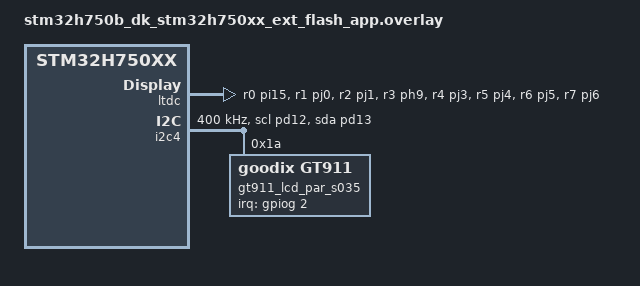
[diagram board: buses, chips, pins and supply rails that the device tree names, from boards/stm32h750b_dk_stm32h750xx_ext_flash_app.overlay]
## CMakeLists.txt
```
cmake_minimum_required(VERSION 3.13.1)

find_package(Zephyr REQUIRED HINTS $ENV{ZEPHYR_BASE})
project(app LANGUAGES CXX)

if(NOT BOARD)
    message(FATAL_ERROR "No BOARD option specified")
endif()

# check is rust is available
find_program(RUSTC_EXECUTABLE rustc)
if(NOT RUSTC_EXECUTABLE)
    message(FATAL_ERROR "Rust compiler not found. Please install Rust and make sure it's in your PATH.")
endif()

# check board and set relevant variables
if(BOARD STREQUAL "native_sim")
    set(Rust_CARGO_TARGET "x86_64-unknown-linux-gnu")
    set(SLINT_LIBRARY_CARGO_FLAGS "-Zbuild-std=core,alloc")
    set(BOARD_CONF_NAME "native_sim_64")
elseif(BOARD STREQUAL "mimxrt1170_evk@B/mimxrt1176/cm7")
    set(Rust_CARGO_TARGET "thumbv7em-none-eabihf")
    set(BOARD_CONF_NAME "mimxrt1170_evk_mimxrt1176_cm7")
elseif(BOARD MATCHES "stm32h750b_dk*")
    set(Rust_CARGO_TARGET "thumbv7em-none-eabihf")
    set(BOARD_CONF_NAME "stm32h750b_dk")
elseif(BOARD MATCHES "black_f407ve")
    set(Rust_CARGO_TARGET "thumbv7em-none-eabihf")
    set(SLINT_LIBRARY_CARGO_FLAGS "")
    set(BOARD_CONF_NAME "black_f407ve")
else()
    message(FATAL_ERROR "Unsupported BOARD option specified: ${BOARD}")
endif()

set(SLINT_FEATURE_FREESTANDING ON CACHE BOOL "" FORCE)
set(SLINT_FEATURE_RENDERER_SOFTWARE ON CACHE BOOL "" FORCE)
set(BUILD_SHARED_LIBS OFF)  
set(DEFAULT_SLINT_EMBED_RESOURCES "embed-for-software-renderer-with-sdf" CACHE STRING "")

set(Rust_CARGO_TARGET_LINK_NATIVE_LIBS "" CACHE INTERNAL "" FORCE)
set(SLINT_FEATURE_SDF_FONTS ON CACHE BOOL "" FORCE)

add_subdirectory(${CMAKE_CURRENT_SOURCE_DIR}/../../modules/slint-ui/ slint_build)

target_sources(app
    PRIVATE
    src/zephyr_api.cpp
    src/main.cpp
    src/display_backend.cpp
    src/input_bridge.cpp
    src/platform_main_loop.cpp
    src/slint_renderer_host.cpp
    src/slint_shell.cpp
)

target_include_directories(app PRIVATE ${CMAKE_CURRENT_SOURCE_DIR}/../include)
target_link_libraries(app PRIVATE Slint::Slint)

slint_target_sources(app ui/ui.slint)
```

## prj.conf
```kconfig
CONFIG_CPP=y
CONFIG_STD_CPP20=y
CONFIG_REQUIRES_FULL_LIBCPP=y
# CONFIG_POSIX_API=y

CONFIG_FLASH_BASE_ADDRESS=0x90000000
CONFIG_ROM_START_OFFSET=0x400
CONFIG_FLASH_LOAD_OFFSET=0x400

CONFIG_SHELL=y
CONFIG_I2C=y
CONFIG_I2C_SHELL=y

CONFIG_FPU=y
CONFIG_FP_HARDABI=y

CONFIG_LOG=y
CONFIG_ASSERT=y

CONFIG_DISPLAY=y
CONFIG_INPUT=y

CONFIG_MAIN_STACK_SIZE=32000

CONFIG_FLASH=y
CONFIG_SPI=y
CONFIG_XIP=y

# Configure SDL display to use RGB565 for better performance and compatibility
CONFIG_SDL_DISPLAY_DEFAULT_PIXEL_FORMAT_RGB_565=y
```

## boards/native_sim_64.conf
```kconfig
CONFIG_INPUT_SDL_TOUCH=y
```

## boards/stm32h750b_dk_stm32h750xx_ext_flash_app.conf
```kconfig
# Configuration for STM32H750B Discovery Kit
# Display and graphics configuration
CONFIG_DISPLAY=y

# Input configuration  
CONFIG_INPUT=y

CONFIG_INPUT_GT911=y
# Optional: Touch input if display supports it
# CONFIG_INPUT_TOUCH=y
```

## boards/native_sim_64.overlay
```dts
&sdl_dc {
    width = <800>;
	height = <400>;
};
```

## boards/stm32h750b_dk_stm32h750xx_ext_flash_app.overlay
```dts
/ {
	chosen {
		// zephyr,flash = &ext_flash;
		// zephyr,flash-controller = &ext_flash_ctrl;
		// zephyr,code-partition = &slot0_partition;
		zephyr,touch = &gt911_lcd_par_s035;
	};
};

&ltdc {
	pinctrl-0 = <&ltdc_r0_pi15 &ltdc_r1_pj0 &ltdc_r2_pj1 &ltdc_r3_ph9
		     &ltdc_r4_pj3 &ltdc_r5_pj4 &ltdc_r6_pj5 &ltdc_r7_pj6
		     &ltdc_g0_pj7 &ltdc_g1_pj8 &ltdc_g2_pj9 &ltdc_g3_pj10
		     &ltdc_g4_pj11 &ltdc_g5_pi0 &ltdc_g6_pi1 &ltdc_g7_pk2
		     &ltdc_b0_pj12 &ltdc_b1_pj13 &ltdc_b2_pj14 &ltdc_b3_pj15
		     &ltdc_b4_pk3 &ltdc_b5_pk4 &ltdc_b6_pk5 &ltdc_b7_pk6
		     &ltdc_de_pk7 &ltdc_clk_pi14 &ltdc_hsync_pi12 &ltdc_vsync_pi9>;
	pinctrl-names = "default";

	disp-on-gpios = <&gpiod 7 GPIO_ACTIVE_HIGH>;

	ext-sdram = <&sdram2>;
	status = "okay";

	clocks = <&rcc STM32_CLOCK(APB3, 3)>,
		 <&rcc STM32_SRC_PLL3_R NO_SEL>;

	width = <480>;
	height = <272>;
	pixel-format = <PANEL_PIXEL_FORMAT_RGB_888>;  /* RGB 16-bit */

	display-timings {
		compatible = "zephyr,panel-timing";
		de-active = <1>;
		pixelclk-active = <0>;
		hsync-active = <0>;
		vsync-active = <0>;

		hsync-len = <4>;
		hback-porch = <40>;
		hfront-porch = <8>;

		vsync-len = <4>;
		vback-porch = <8>;
		vfront-porch = <8>;
	};

	def-back-color-red = <0x00>;
	def-back-color-green = <0x00>;
	def-back-color-blue = <0x00>;
};

&pll3 {
	div-m = <5>;
	mul-n = <192>;
	div-p = <2>;
	div-q = <20>;
	div-r = <111>;
	clocks = <&clk_hse>;
	status = "okay";
};

// &flash0 {
// 	status = "okay";

// 	partitions {
// 		compatible = "fixed-partitions";
// 		#address-cells = <1>;
// 		#size-cells = <1>;

// 		/* Flash has 128KB sector size */
// 		boot_partition: partition@0 {
// 			label = "mcuboot";
// 			reg = <0x00000000 DT_SIZE_K(128)>;
// 		};
// 	};
// };

// &quadspi {
// 	pinctrl-names = "default";
// 	pinctrl-0 = <&quadspi_clk_pf10 &quadspi_bk1_ncs_pg6
// 		     &quadspi_bk1_io0_pd11 &quadspi_bk1_io1_pf9
// 		     &quadspi_bk1_io2_pf7 &quadspi_bk1_io3_pf6
// 		     &quadspi_bk2_io0_ph2 &quadspi_bk2_io1_ph3
// 		     &quadspi_bk2_io2_pg9 &quadspi_bk2_io3_pg14>;
// 	/*
// 	 * Two MT25QL512AB NOR Flash chips connected to QSPI in parallel
// 	 * and accessed simultaneously, 4bits sent to/received from each.
// 	 */
// 	dual-flash;
// 	ssht-enable;
// 	status = "okay";

// 	ext_flash_ctrl: qspi-flash-controller@0 {
// 		compatible = "st,stm32-qspi-nor";
// 		reg = <0>;
// 		size = <DT_SIZE_M(512)>; /* 64MB for each Flash */
// 		qspi-max-frequency = <72000000>;
// 		cs-high-time = <4>; /* >= 50 ns */
// 		spi-bus-width = <4>;
// 		reset-cmd;
// 		status = "okay";

// 		#address-cells = <1>;
// 		#size-cells = <1>;
// 		ranges = <0x0 0x90000000 DT_SIZE_M(128)>; /* Ext Flash mem-mapped to 0x90000000 */

// 		/* Sector erase 64KB uniform granularity for each Flash */
// 		/* Subsector erase 4KB, 32KB granularity for each Flash */
// 		ext_flash: mt25ql512ab: ext-flash@0 {
// 			compatible = "soc-nv-flash";
// 			reg = <0x0 DT_SIZE_M(128)>; /* 128MB total in dual-flash mode */
// 			write-block-size = <1>; /* 1byte=4bits*2 in dual-flash mode */
// 			erase-block-size = <DT_SIZE_K(8)>; /* 4KB*2 in dual-flash mode */

// 			partitions {
// 				compatible = "fixed-partitions";
// 				#address-cells = <1>;
// 				#size-cells = <1>;
// 			};
// 		};
// 	};
// };

// &ext_flash {
// 	status = "okay";

// 	partitions {
// 		slot0_partition: partition@0 {
// 			label = "image-0";
// 			reg = <0x0 DT_SIZE_M(60)>; /* 60MB */
// 		};

// 		slot1_partition: partition@3c00000 {
// 			label = "image-1";
// 			reg = <0x3c00000 DT_SIZE_M(60)>;
// 		};

// 		storage_partition: partition@7800000 {
// 			label = "storage";
// 			reg = <0x7800000 DT_SIZE_M(8)>;
// 		};
// 	};
// };

&i2c4 {
	pinctrl-0 = <&i2c4_scl_pd12 &i2c4_sda_pd13>;
	pinctrl-names = "default";
	clock-frequency = <I2C_BITRATE_FAST>;
	status = "okay";

	gt911_lcd_par_s035: gt911-lcd_par_s035@1A {
		compatible = "goodix,gt911";
		reg = <0x1A>;
		irq-gpios = <&gpiog 2 GPIO_ACTIVE_HIGH>;
		// zephyr,deferred-init;
		// swapped-x-y;
		// inverted-x;
		// screen-width = <400>;
		// screen-height = <272>;
	};
};
```

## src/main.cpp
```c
#include <zephyr/logging/log.h>
LOG_MODULE_REGISTER(app, LOG_LEVEL_INF);

#include <zephyr/kernel.h>
#include <zephyr/device.h>
#include <zephyr/drivers/display.h>
#include <zephyr/cache.h>
#include <cstdint>
#include "ui.h"
#include "zephyr_api.h"
#include <zephyr/autoconf.h>

int main(void)
{
    const struct device *display_dev = DEVICE_DT_GET(DT_CHOSEN(zephyr_display));
    if (!device_is_ready(display_dev)) {
        LOG_ERR("Display device not ready: %s", display_dev->name);
        return -1;
    }

#ifdef CONFIG_DISPLAY_TEST_PATTERN
    display_blanking_off(display_dev);
    display_capabilities cap{};
    display_get_capabilities(display_dev, &cap);

    LOG_INF("res=%ux%u fmt=%u", cap.x_resolution, cap.y_resolution, cap.current_pixel_format);

    void *fb = display_get_framebuffer(display_dev);
    if (!fb) {
        LOG_ERR("No framebuffer exposed by display driver");
        while (true) { k_sleep(K_SECONDS(1)); }
    }

    const size_t w = cap.x_resolution;
    const size_t h = cap.y_resolution;

    switch (cap.current_pixel_format) {
    case PIXEL_FORMAT_RGB_565: {
        auto *p = static_cast<uint16_t*>(fb);
        const size_t n = w * h;
        for (size_t i = 0; i < n; i++) p[i] = 0xF800;
        sys_cache_data_flush_range(fb, n * sizeof(uint16_t));
        break;
    }
    case PIXEL_FORMAT_ARGB_8888: {
        auto *p = static_cast<uint32_t*>(fb);
        const size_t n = w * h;
        for (size_t i = 0; i < n; i++) p[i] = 0xFFFF0000;
        sys_cache_data_flush_range(fb, n * sizeof(uint32_t));
        break;
    }
    case PIXEL_FORMAT_RGB_888: {
        auto *p = static_cast<uint8_t*>(fb);
        const size_t n = w * h;
        // RGB888: 3 bytes por pixel (R,G,B)
        for (size_t i = 0; i < n; i++) {
            p[i*3 + 0] = 0xFF; // R
            p[i*3 + 1] = 0x00; // G
            p[i*3 + 2] = 0x00; // B
        }
        sys_cache_data_flush_range(fb, n * 3);
        break;
    }
    default:
        LOG_ERR("Unsupported pixel format: %u", cap.current_pixel_format);
        break;
    }

    while (true) {
        k_sleep(K_SECONDS(1));
    }
#else
    LOG_INF("Starting Slint application");

    slint_zephyr_init(display_dev);
    LOG_INF("Platform initialized, creating window");

    display_set_contrast(display_dev, 30);
    display_set_brightness(display_dev, 50);

    auto main_window = MainWindow::create();
    LOG_INF("Window created, calling run()");

    main_window->run();
    
    LOG_INF("run() returned (should not reach here)");

    while (true) {
        k_sleep(K_SECONDS(1));
    }

#endif // CONFIG_DISPLAY_TEST_PATTERN
}
```

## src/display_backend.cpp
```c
#include "display_backend.h"
#include <zephyr/logging/log.h>

LOG_MODULE_DECLARE(zephyr_api_slint, LOG_LEVEL_DBG);

DisplayBackendZephyr::DisplayBackendZephyr(const struct device *display) : m_display(display)
{
}

bool DisplayBackendZephyr::init()
{
    if (!m_display) {
        LOG_ERR("Display device is null");
        return false;
    }

    display_capabilities caps;
    display_get_capabilities(m_display, &caps);

    m_capabilities.width = caps.x_resolution;
    m_capabilities.height = caps.y_resolution;
    m_capabilities.current_format = caps.current_pixel_format;
    m_capabilities.has_framebuffer = (display_get_framebuffer(m_display) != nullptr);
    m_capabilities.double_buffering = (caps.screen_info & SCREEN_INFO_DOUBLE_BUFFER) != 0;

    // Try to set RGB565 if not already set
    if (!is_supported_pixel_format(m_capabilities.current_format)) {
        if (caps.supported_pixel_formats & PIXEL_FORMAT_RGB_565) {
            LOG_INF("Negotiating pixel format to RGB_565");
            if (set_pixel_format(PIXEL_FORMAT_RGB_565)) {
                m_capabilities.current_format = PIXEL_FORMAT_RGB_565;
            }
        } else if (caps.supported_pixel_formats & PIXEL_FORMAT_BGR_565) {
            LOG_INF("Negotiating pixel format to BGR_565");
            if (set_pixel_format(PIXEL_FORMAT_BGR_565)) {
                m_capabilities.current_format = PIXEL_FORMAT_BGR_565;
            }
        } else {
            LOG_ERR("No supported pixel formats found!");
            return false;
        }
    }

    detect_strategy();
    log_capabilities();
    return true;
}

bool DisplayBackendZephyr::is_supported_pixel_format(display_pixel_format format) const
{
    switch (format) {
    case PIXEL_FORMAT_RGB_565:
        return true;
    case PIXEL_FORMAT_BGR_565:
#ifdef CONFIG_SHIELD_RK055HDMIPI4MA0
        return true;
#else
        return false;
#endif
    case PIXEL_FORMAT_RGB_888:
    case PIXEL_FORMAT_MONO01:
    case PIXEL_FORMAT_MONO10:
    case PIXEL_FORMAT_ARGB_8888:
        return false;
    }
    return false;
}

bool DisplayBackendZephyr::set_pixel_format(display_pixel_format format)
{
    display_set_pixel_format(m_display, format);

    display_capabilities caps;
    display_get_capabilities(m_display, &caps);

    return true;
}

uint8_t *DisplayBackendZephyr::get_framebuffer() const
{
    if (m_capabilities.has_framebuffer) {
        return reinterpret_cast<uint8_t *>(display_get_framebuffer(m_display));
    }
    return nullptr;
}

int DisplayBackendZephyr::write_region(uint32_t x, uint32_t y, uint32_t width, uint32_t height,
                                       const void *buffer)
{
    // Region writes only supported for FullBuffer strategy
    // DirectFrameBuffer should always use full-frame writes to avoid stride confusion
    if (m_capabilities.strategy == FrameBufferStrategy::DirectFrameBuffer) {
        // Ignore region writes for DirectFrameBuffer
        LOG_DBG("write_region: ignored for DirectFrameBuffer (use full-frame)");
        return 0;
    }

    display_buffer_descriptor desc{};
    desc.width = width;
    desc.height = height;
    desc.pitch = width;
    desc.buf_size = width * height * sizeof(uint16_t);

    return display_write(m_display, x, y, &desc, buffer);
}

int DisplayBackendZephyr::write_full_frame(const void *buffer)
{
    // Both strategies use full-frame write for maximum compatibility
    // write_full_frame knows how to handle the full buffer correctly
    
    display_buffer_descriptor desc{};
    desc.width = m_capabilities.width;
    desc.height = m_capabilities.height;
    desc.pitch = m_capabilities.width;
    desc.buf_size = m_capabilities.width * m_capabilities.height * sizeof(uint16_t);

    LOG_DBG("write_full_frame: %ux%u, pitch=%u", m_capabilities.width, m_capabilities.height, desc.pitch);

    return display_write(m_display, 0, 0, &desc, buffer);
}

void DisplayBackendZephyr::blanking_off() const
{
    display_blanking_off(m_display);
}

void DisplayBackendZephyr::detect_strategy()
{
    // Use DirectFrameBuffer if hardware supports it
    if (m_capabilities.has_framebuffer) {
        m_capabilities.strategy = FrameBufferStrategy::DirectFrameBuffer;
        m_capabilities.supports_partial_updates = true;  // Can optimize regions later
        LOG_INF("Display strategy: Direct Framebuffer (HW available)");
        return;
    }

    // Fallback to FullBuffer (always safe)
    m_capabilities.strategy = FrameBufferStrategy::FullBuffer;

    // Check if driver supports partial updates (e.g., not PXP)
#ifdef CONFIG_MCUX_ELCDIF_PXP
    m_capabilities.supports_partial_updates = false;
    LOG_INF("Display strategy: Full Buffer (PXP forces full frame)");
#else
    m_capabilities.supports_partial_updates = true;
    LOG_INF("Display strategy: Full Buffer with Partial Updates");
#endif
}

void DisplayBackendZephyr::log_capabilities()
{
    LOG_INF("=== Display Capabilities ===");
    LOG_INF("Resolution: %u x %u", m_capabilities.width, m_capabilities.height);
    LOG_INF("Pixel Format: %u (RGB565=%d, BGR565=%d)", m_capabilities.current_format,
            PIXEL_FORMAT_RGB_565, PIXEL_FORMAT_BGR_565);
    LOG_INF("Has Framebuffer: %d", m_capabilities.has_framebuffer);
    LOG_INF("Double Buffering: %d", m_capabilities.double_buffering);
    LOG_INF("Supports Partial Updates: %d", m_capabilities.supports_partial_updates);
    LOG_INF("Rendering Strategy: %d", static_cast<int>(m_capabilities.strategy));
}
```

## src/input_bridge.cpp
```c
#include "input_bridge.h"
#include <zephyr/logging/log.h>
#include <zephyr/input/input.h>

LOG_MODULE_DECLARE(zephyr_api_slint, LOG_LEVEL_DBG);

// Static member initialization
InputBridgeZephyr::InputEvent InputBridgeZephyr::m_events[InputBridgeZephyr::EVENT_BUFFER_SIZE];
size_t InputBridgeZephyr::m_head = 0;
size_t InputBridgeZephyr::m_tail = 0;
InputBridgeZephyr::TouchState InputBridgeZephyr::m_touch_state;
K_MUTEX_DEFINE(InputBridgeZephyr::m_input_mutex);

static struct k_sem *g_event_sem = nullptr;

void InputBridgeZephyr::init(struct k_sem *event_sem)
{
    g_event_sem = event_sem;
    m_head = 0;
    m_tail = 0;
    m_touch_state = {};
    LOG_DBG("InputBridgeZephyr initialized");
}

void InputBridgeZephyr::on_input_event(struct input_event *event)
{
    if (!event || !g_event_sem)
        return;

    // Callback must be fast - no heavy logging, just state update

    // Normalize and accumulate position
    if (event->code == INPUT_ABS_X) {
        m_touch_state.pos.x = event->value;
    } else if (event->code == INPUT_ABS_Y) {
        m_touch_state.pos.y = event->value;
    } else if (event->code != INPUT_BTN_TOUCH) {
        return;
    }

    // When sync happens on BTN_TOUCH, we have a complete event
    if (event->sync && event->code == INPUT_BTN_TOUCH) {
        m_touch_state.valid = true;

        InputEvent input_evt;
        input_evt.pos = m_touch_state.pos;

        bool press_state_changed = (m_touch_state.pressed != (event->value != 0));

        if (press_state_changed) {
            m_touch_state.pressed = (event->value != 0);

            if (m_touch_state.pressed) {
                input_evt.type = InputEvent::Type::Press;
            } else {
                input_evt.type = InputEvent::Type::Release;
            }

            // Minimal logging - only in DBG level
            LOG_DBG("Input: %s at (%.0f, %.0f)", 
                    m_touch_state.pressed ? "Press" : "Release",
                    m_touch_state.pos.x, m_touch_state.pos.y);
        } else if (m_touch_state.pressed) {
            // Still pressed, this is a move event
            input_evt.type = InputEvent::Type::Move;
            LOG_DBG("Input: Move at (%.0f, %.0f)", m_touch_state.pos.x, m_touch_state.pos.y);
        } else {
            return;  // Release when already released = skip
        }

        // Push event to buffer (fast path, minimal lock time)
        if (push_event(input_evt)) {
            // Signal main loop that events are ready
            k_sem_give(g_event_sem);
        }
    }
}

void InputBridgeZephyr::drain_events(slint::platform::WindowAdapter * window)
{
    if (!window)
        return;

    std::optional<InputEvent> evt;
    while ((evt = pop_event()).has_value()) {
        auto &event = evt.value();
        auto &slint_window = window->window();

        switch (event.type) {
        case InputEvent::Type::Press:
            LOG_DBG("Dispatching Press event");
            slint_window.dispatch_pointer_move_event(event.pos);
            slint_window.dispatch_pointer_press_event(event.pos,
                                                       slint::PointerEventButton::Left);
            break;

        case InputEvent::Type::Move:
            LOG_DBG("Dispatching Move event");
            slint_window.dispatch_pointer_move_event(event.pos);
            break;

        case InputEvent::Type::Release:
            LOG_DBG("Dispatching Release event");
            slint_window.dispatch_pointer_release_event(event.pos,
                                                         slint::PointerEventButton::Left);
            slint_window.dispatch_pointer_exit_event();
            break;
        }
    }
}

bool InputBridgeZephyr::push_event(const InputEvent &event)
{
    k_mutex_lock(&m_input_mutex, K_FOREVER);

    size_t next_head = (m_head + 1) % EVENT_BUFFER_SIZE;
    if (next_head == m_tail) {
        // Buffer full - drop oldest event
        m_tail = (m_tail + 1) % EVENT_BUFFER_SIZE;
        LOG_WRN("Input event buffer full, dropping oldest");
    }

    m_events[m_head] = event;
    m_head = next_head;

    k_mutex_unlock(&m_input_mutex);
    return true;
}

std::optional<InputBridgeZephyr::InputEvent> InputBridgeZephyr::pop_event()
{
    k_mutex_lock(&m_input_mutex, K_FOREVER);

    if (m_head == m_tail) {
        k_mutex_unlock(&m_input_mutex);
        return std::nullopt;
    }

    InputEvent evt = m_events[m_tail];
    m_tail = (m_tail + 1) % EVENT_BUFFER_SIZE;

    k_mutex_unlock(&m_input_mutex);
    return evt;
}

bool InputBridgeZephyr::has_events_locked()
{
    return m_head != m_tail;
}

// Zephyr input callback - registered globally
static void zephyr_input_callback(struct input_event *event, void *user_data)
{
    ARG_UNUSED(user_data);
    InputBridgeZephyr::on_input_event(event);
}

INPUT_CALLBACK_DEFINE(DEVICE_DT_GET(DT_CHOSEN(zephyr_touch)), zephyr_input_callback, NULL);
```

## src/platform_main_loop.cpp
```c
#include "platform_main_loop.h"
#include "slint_shell.h"
#include <zephyr/logging/log.h>

LOG_MODULE_DECLARE(zephyr_api_slint, LOG_LEVEL_DBG);

ZephyrPlatformMainLoop::ZephyrPlatformMainLoop(const struct device *display)
{
    k_mutex_init(&m_queue_mutex);
    k_sem_init(&m_event_sem, 0, 1);

    m_display_backend = std::make_unique<DisplayBackendZephyr>(display);
    if (!m_display_backend->init()) {
        LOG_ERR("Failed to initialize display backend");
        m_display_backend.reset();
        return;
    }

    m_renderer = std::make_unique<SlintRendererHost>(*m_display_backend);
    if (!m_renderer->init()) {
        LOG_ERR("Failed to initialize renderer");
        m_renderer.reset();
        return;
    }

    // Initialize input bridge with event semaphore
    InputBridgeZephyr::init(&m_event_sem);

    // Register components for shell monitoring
    slint_shell_register_renderer(m_renderer.get());
    slint_shell_register_display(m_display_backend.get());

    LOG_INF("ZephyrPlatformMainLoop initialized successfully");
}

std::unique_ptr<slint::platform::WindowAdapter> ZephyrPlatformMainLoop::create_window_adapter()
{
    LOG_INF("create_window_adapter() called");
    
    if (!m_display_backend || !m_renderer) {
        LOG_ERR("Components not initialized");
        return nullptr;
    }

    if (m_window) {
        LOG_ERR("Window adapter already created");
        return nullptr;
    }

    // Create window adapter that uses our renderer
    class WindowAdapter : public slint::platform::WindowAdapter
    {
    public:
        explicit WindowAdapter(ZephyrPlatformMainLoop *platform) : m_platform(platform)
        {
        }

        void request_redraw() override
        {
            if (m_platform->m_renderer) {
                m_platform->m_renderer->request_redraw();
            }
            k_sem_give(&m_platform->m_event_sem);
        }

        slint::PhysicalSize size() override
        {
            if (m_platform->m_renderer) {
                return m_platform->m_renderer->size();
            }
            return slint::PhysicalSize({ 0, 0 });
        }

        slint::platform::AbstractRenderer &renderer() override
        {
            return m_platform->m_renderer->renderer();
        }

    private:
        ZephyrPlatformMainLoop *m_platform;
    };

    auto window = std::make_unique<WindowAdapter>(this);
    m_window = window.get();

    LOG_INF("Window adapter created: %ux%u",
            m_renderer->size().width, m_renderer->size().height);

    return window;
}

std::chrono::milliseconds ZephyrPlatformMainLoop::duration_since_start()
{
    return std::chrono::milliseconds(k_uptime_get());
}

void ZephyrPlatformMainLoop::run_event_loop()
{
    LOG_INF("Event loop starting - m_window=%p, m_renderer=%p", (void*)m_window, (void*)m_renderer.get());

    if (!m_window) {
        LOG_ERR("ERROR: m_window is null! create_window_adapter() was not called properly");
        return;
    }

    if (!m_renderer) {
        LOG_ERR("ERROR: m_renderer is null!");
        return;
    }

    while (should_continue_loop()) {
        // Process all wake sources
        
        // 1. Process queued tasks
        process_queued_tasks();

        // 2. Drain input events with window dispatch
        if (m_window) {
            InputBridgeZephyr::drain_events(m_window);
        }

        // 3. Update animations and timers
        slint::platform::update_timers_and_animations();

        // 4. Render and present if needed
        // On first frame, always render even without redraw request
        bool should_render = m_first_frame || m_renderer->needs_redraw();
        if (m_first_frame) {
            m_first_frame = false;
            LOG_INF("First frame rendering starting");
        }
        
        if (m_window && m_renderer && should_render) {
            m_renderer->render_and_present();
        }

        // 5. Decide sleep duration (Fase 5 - sleep policy)
        auto sleep_time = calculate_sleep_duration();

        if (sleep_time.count() > 0) {
            k_sem_take(&m_event_sem, K_MSEC(sleep_time.count()));
        } else if (m_window && m_window->window().has_active_animations()) {
            // Has active animations: sleep very little to check next frame
            LOG_INF("Has animations, sleeping 1ms");
#if defined(CONFIG_ARCH_POSIX)
            k_sem_take(&m_event_sem, K_MSEC(10));
#else
            k_sem_take(&m_event_sem, K_MSEC(1));
#endif
        } else {
            // No animations: wait with heartbeat timeout to ensure minimum redraw rate
            // LOG_INF("Waiting for event (max %lld ms)", MIN_REDRAW_INTERVAL_MS);
            k_sem_take(&m_event_sem, K_MSEC(MIN_REDRAW_INTERVAL_MS));
        }
    }

    LOG_INF("Event loop ending");
}

void ZephyrPlatformMainLoop::quit_event_loop()
{
    {
        k_mutex_lock(&m_queue_mutex, K_FOREVER);
        m_quit_requested = true;
        k_mutex_unlock(&m_queue_mutex);
    }
    k_sem_give(&m_event_sem);
}

void ZephyrPlatformMainLoop::run_in_event_loop(Task task)
{
    {
        k_mutex_lock(&m_queue_mutex, K_FOREVER);
        m_task_queue.push_back(std::move(task));
        k_mutex_unlock(&m_queue_mutex);
    }
    k_sem_give(&m_event_sem);
}

void ZephyrPlatformMainLoop::process_queued_tasks()
{
    std::optional<Task> task;

    while (true) {
        {
            k_mutex_lock(&m_queue_mutex, K_FOREVER);
            if (m_task_queue.empty()) {
                k_mutex_unlock(&m_queue_mutex);
                return;
            }
            task = std::move(m_task_queue.front());
            m_task_queue.pop_front();
            k_mutex_unlock(&m_queue_mutex);
        }

        if (task) {
            LOG_DBG("Executing queued task");
            std::move(*task).run();
            task.reset();
        }
    }
}

bool ZephyrPlatformMainLoop::should_continue_loop()
{
    k_mutex_lock(&m_queue_mutex, K_FOREVER);
    bool should_quit = m_quit_requested;
    if (should_quit) {
        m_quit_requested = false;  // Reset for next run
    }
    k_mutex_unlock(&m_queue_mutex);

    // LOG_DBG("should_continue_loop: quit=%d, continue=%d", should_quit, !should_quit);
    return !should_quit;
}

std::chrono::milliseconds ZephyrPlatformMainLoop::calculate_sleep_duration() const
{
    // Central sleep policy
    // 
    // If window has animations, don't sleep long
    if (m_window && m_window->window().has_active_animations()) {
        return std::chrono::milliseconds(0);  // Don't sleep, check next frame soon
    }

    // Get next timer deadline from Slint
    if (auto next_timer = slint::platform::duration_until_next_timer_update()) {
        return next_timer.value();
    }

    // No timers - return 0 to allow loop to continue
    // The k_sem_take in run_event_loop will timeout after MIN_REDRAW_INTERVAL_MS
    return std::chrono::milliseconds(0);
}
```

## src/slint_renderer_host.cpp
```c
#include "slint_renderer_host.h"
#include <zephyr/cache.h>
#include <zephyr/logging/log.h>
#include <algorithm>
#include <ranges>
#include <limits>
#include <cstring>

LOG_MODULE_DECLARE(zephyr_api_slint, LOG_LEVEL_DBG);

SlintRendererHost::SlintRendererHost(DisplayBackendZephyr &display)
    : m_display(display), m_renderer(slint::platform::SoftwareRenderer::RepaintBufferType::ReusedBuffer)
{
    const auto &caps = m_display.get_capabilities();
    m_size = slint::PhysicalSize({ caps.width, caps.height });
}

bool SlintRendererHost::init()
{
    initialize_buffer();

    m_metrics.display_width = m_size.width;
    m_metrics.display_height = m_size.height;
    m_metrics.has_hardware_framebuffer = m_display.get_capabilities().has_framebuffer;
    m_metrics.using_framebuffer_direct = 
        m_display.get_capabilities().strategy == DisplayBackendZephyr::FrameBufferStrategy::DirectFrameBuffer;
    m_metrics.partial_updates_supported = 
        m_display.get_capabilities().supports_partial_updates;
    
    LOG_INF("Renderer initialized: %ux%u, framebuffer=%d, strategy=%d",
            m_size.width, m_size.height, m_metrics.has_hardware_framebuffer,
            m_metrics.using_framebuffer_direct);

    return true;
}

void SlintRendererHost::initialize_buffer()
{
    const auto &caps = m_display.get_capabilities();

    // Always keep a local buffer for SoftwareRenderer output.
    m_buffer.resize(m_size.width * m_size.height);
    m_buffer_descriptor.buf_size = sizeof(m_buffer[0]) * m_buffer.size();
    m_buffer_descriptor.width = m_size.width;
    m_buffer_descriptor.height = m_size.height;
    m_buffer_descriptor.pitch = m_size.width;

    m_framebuffer_ptr = nullptr;
    if (caps.strategy == DisplayBackendZephyr::FrameBufferStrategy::DirectFrameBuffer) {
        uint8_t *hw_fb = m_display.get_framebuffer();
        if (hw_fb) {
            m_framebuffer_ptr = reinterpret_cast<slint::platform::Rgb565Pixel*>(hw_fb);
            LOG_INF("DirectFrameBuffer mode: HW FB available (%ux%u)",
                    m_size.width, m_size.height);
        } else {
            LOG_WRN("DirectFrameBuffer strategy but no hardware FB available, using FullBuffer");
        }
    }

    m_metrics.buffer_size_bytes = m_buffer_descriptor.buf_size;
    LOG_INF("Render buffer: %u bytes (%ux%u pixels)",
            m_buffer_descriptor.buf_size, m_size.width, m_size.height);
}

int SlintRendererHost::render_and_present()
{
    if (!std::exchange(m_needs_redraw, false))
        return 0;

    m_metrics.reset_frame_metrics();

    // Measure Slint rendering time
    auto start = k_uptime_get();

    const auto &caps = m_display.get_capabilities();

    // Render to local buffer first.
    auto region = m_renderer.render(m_buffer, m_size.width);
    
    const auto &rects = region.rectangles();
    auto dirty_count = std::ranges::size(rects);

    m_metrics.slint_render_time_ms = k_uptime_delta(&start);
    m_metrics.num_dirty_rects = dirty_count;

    if (dirty_count == 0) {
        return 0;  // Nothing to update
    }

    // Calculate total dirty pixels
    uint32_t total_pixels = 0;
    for (auto [offset, size] : rects) {
        total_pixels += size.width * size.height;
        m_metrics.max_dirty_rect_width = std::max(m_metrics.max_dirty_rect_width, size.width);
        m_metrics.max_dirty_rect_height = std::max(m_metrics.max_dirty_rect_height, size.height);
    }
    m_metrics.total_dirty_pixels = total_pixels;

    // Collect dirty rects into vector
    std::vector<DirtyRect> dirty_rects;
    for (auto [offset, size] : rects) {
        dirty_rects.push_back(DirtyRect{(uint32_t)offset.x, (uint32_t)offset.y, size.width, size.height});
    }

    // Convert pixel format if needed (endian handling)
    if (caps.current_format == PIXEL_FORMAT_BGR_565) {
#ifndef CONFIG_SHIELD_RK055HDMIPI4MA0
        // Need to convert from RGB565 to BGR565 (big endian)
        // Apply to all dirty regions
        for (const auto &rect : dirty_rects) {
            convert_pixel_format_if_needed(rect.x, rect.y, rect.width, rect.height);
        }
        LOG_DBG("Applied BGR565 conversion for %u regions", (uint32_t)dirty_rects.size());
#endif
    }

    // For DirectFrameBuffer: copy to HW FB and flush cache
    if (caps.strategy == DisplayBackendZephyr::FrameBufferStrategy::DirectFrameBuffer && m_framebuffer_ptr) {
        uint32_t fb_size = m_size.width * m_size.height * sizeof(uint16_t);
        std::memcpy(m_framebuffer_ptr, m_buffer.data(), fb_size);
        sys_cache_data_flush_range(m_framebuffer_ptr, fb_size);
        LOG_DBG("DirectFrameBuffer: copied + flushed %u bytes", fb_size);
    }

    // Coalesce dirty rectangles if they overlap or are too many
    if (dirty_rects.size() > 4) {
        coalesce_dirty_rects(dirty_rects);
        LOG_DBG("Coalesced dirty rects to %u", (uint32_t)dirty_rects.size());
    }

    // For FullBuffer: send to display driver
    // For DirectFrameBuffer: no need to send (already copied to HW FB)
    if (caps.strategy != DisplayBackendZephyr::FrameBufferStrategy::DirectFrameBuffer) {
        auto write_start = k_uptime_get();
        send_to_display(dirty_rects, &m_buffer);
        m_metrics.display_write_time_ms = k_uptime_delta(&write_start);
    } else {
        m_metrics.display_write_time_ms = 0;
    }

    m_metrics.total_frame_time_ms = m_metrics.slint_render_time_ms + m_metrics.display_write_time_ms;
    m_metrics.update_frame_statistics();

    // Log performance every 60 frames
    if (m_metrics.frame_count % 60 == 0) {
        LOG_INF("Frame %u: render=%lld ms, write=%lld ms, fps=%.1f, dirty=%u/%u pixels",
                m_metrics.frame_count, m_metrics.slint_render_time_ms,
                m_metrics.display_write_time_ms, m_metrics.get_fps(),
                m_metrics.num_dirty_rects, m_metrics.total_dirty_pixels);
    }

    return 1;  // Always return 1 to indicate work was done
}

void SlintRendererHost::convert_pixel_format_if_needed(uint32_t x, uint32_t y, uint32_t width, uint32_t height)
{
    if (m_buffer.empty())
        return;

    // Convert endianness for BGR565 format
    // This avoids per-pixel conversion in the hot path by doing block conversion
    for (uint32_t row = y; row < y + height; row++) {
        for (uint32_t col = x; col < x + width; col++) {
            if (row * m_size.width + col >= m_buffer.size())
                continue;

            auto px = reinterpret_cast<uint16_t *>(&m_buffer[row * m_size.width + col]);
            // Swap bytes: little endian to big endian
            *px = (*px << 8) | (*px >> 8);
        }
    }
}

void SlintRendererHost::coalesce_dirty_rects(std::vector<DirtyRect> &rects)
{
    if (rects.size() <= 1)
        return;

    // Simple coalescing: find bounds that contain all rects
    uint32_t min_x = std::numeric_limits<uint32_t>::max();
    uint32_t min_y = std::numeric_limits<uint32_t>::max();
    uint32_t max_x = 0;
    uint32_t max_y = 0;

    for (const auto &rect : rects) {
        min_x = std::min(min_x, rect.x);
        min_y = std::min(min_y, rect.y);
        max_x = std::max(max_x, rect.x + rect.width);
        max_y = std::max(max_y, rect.y + rect.height);
    }

    rects.clear();
    rects.push_back(DirtyRect{min_x, min_y, max_x - min_x, max_y - min_y});
}

int SlintRendererHost::send_to_display(const std::vector<DirtyRect> &rects, 
                                         const std::vector<slint::platform::Rgb565Pixel> *buffer)
{
    if (!buffer || buffer->empty()) {
        return -ENOMEM;
    }

    const auto &caps = m_display.get_capabilities();
    const uint16_t *src_pixels = reinterpret_cast<const uint16_t*>(buffer->data());

    // DirectFrameBuffer: update only dirty regions directly in HW FB
    if (caps.strategy == DisplayBackendZephyr::FrameBufferStrategy::DirectFrameBuffer && m_framebuffer_ptr) {
        uint16_t *dst_pixels = reinterpret_cast<uint16_t*>(m_framebuffer_ptr);

        for (const auto &rect : rects) {
            if (rect.x + rect.width > m_size.width || rect.y + rect.height > m_size.height) {
                continue;
            }

            const uint32_t bytes_per_row = rect.width * sizeof(uint16_t);
            for (uint32_t row = 0; row < rect.height; row++) {
                const uint32_t src_offset = (rect.y + row) * m_size.width + rect.x;
                const uint32_t dst_offset = src_offset;
                std::memcpy(dst_pixels + dst_offset, src_pixels + src_offset, bytes_per_row);
                sys_cache_data_flush_range(dst_pixels + dst_offset, bytes_per_row);
            }
        }

        return rects.empty() ? 0 : static_cast<int>(rects.size());
    }

    // FullBuffer: prefer partial updates if supported
    if (!caps.supports_partial_updates || rects.empty()) {
        return m_display.write_full_frame(src_pixels);
    }

    int total_writes = 0;
    for (const auto &rect : rects) {
        if (rect.x + rect.width > m_size.width || rect.y + rect.height > m_size.height) {
            continue;
        }

        const uint32_t pixel_count = rect.width * rect.height;
        m_region_buffer.resize(pixel_count);

        for (uint32_t row = 0; row < rect.height; row++) {
            const uint32_t src_offset = (rect.y + row) * m_size.width + rect.x;
            const uint32_t dst_offset = row * rect.width;
            std::memcpy(m_region_buffer.data() + dst_offset, src_pixels + src_offset,
                        rect.width * sizeof(uint16_t));
        }

        if (m_display.write_region(rect.x, rect.y, rect.width, rect.height,
                                   m_region_buffer.data()) == 0) {
            total_writes++;
        }
    }

    return total_writes;
}
```

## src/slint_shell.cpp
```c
#include "slint_shell.h"
#include "slint_renderer_host.h"
#include "display_backend.h"
#include <zephyr/shell/shell.h>
#include <zephyr/logging/log.h>

LOG_MODULE_DECLARE(zephyr_api_slint, LOG_LEVEL_INF);

// Forward declarations - these will be set during platform initialization
static SlintRendererHost *g_renderer_host = nullptr;
static DisplayBackendZephyr *g_display_backend = nullptr;

/**
 * @brief Register renderer and display backend for shell access
 * Called by platform initialization
 */
void slint_shell_register_renderer(SlintRendererHost *renderer)
{
    g_renderer_host = renderer;
}

void slint_shell_register_display(DisplayBackendZephyr *display)
{
    g_display_backend = display;
}

// Shell command: slint status
static int cmd_slint_status(const struct shell *sh, size_t argc, char **argv)
{
    if (!g_renderer_host) {
        shell_print(sh, "Slint platform not initialized");
        return -ENODEV;
    }

    const auto &metrics = g_renderer_host->metrics();

    shell_print(sh, "\n=== Slint Rendering Status ===");
    shell_print(sh, "Display: %ux%u pixels", metrics.display_width, metrics.display_height);
    shell_print(sh, "Frame #: %u", metrics.frame_count);

    if (metrics.frame_count > 0) {
        shell_print(sh, "\nTiming (frame):");
        shell_print(sh, "  Render: %lld ms (avg: %.1f ms)", metrics.slint_render_time_ms,
                    metrics.get_average_render_time());
        shell_print(sh, "  Display: %lld ms (avg: %.1f ms)", metrics.display_write_time_ms,
                    metrics.get_average_write_time());
        shell_print(sh, "  Total: %lld ms (min: %lld, max: %lld)", metrics.total_frame_time_ms,
                    metrics.min_frame_time_ms, metrics.max_frame_time_ms);
        shell_print(sh, "  FPS: %.1f", metrics.get_fps());

        shell_print(sh, "\nDirty regions (last frame):");
        shell_print(sh, "  Count: %u", metrics.num_dirty_rects);
        shell_print(sh, "  Pixels: %u", metrics.total_dirty_pixels);
        shell_print(sh, "  Max rect: %ux%u", metrics.max_dirty_rect_width,
                    metrics.max_dirty_rect_height);

        shell_print(sh, "\nMemory:");
        shell_print(sh, "  Buffer: %u bytes", metrics.buffer_size_bytes);
        shell_print(sh, "  Hardware FB: %s", metrics.has_hardware_framebuffer ? "yes" : "no");
        shell_print(sh, "  Using direct FB: %s",
                    metrics.using_framebuffer_direct ? "yes" : "no");

        shell_print(sh, "\nStrategy:");
        shell_print(sh, "  Partial updates: %s", metrics.partial_updates_supported ? "yes" : "no");
    } else {
        shell_print(sh, "No frames rendered yet");
    }

    return 0;
}

// Shell command: slint config
static int cmd_slint_config(const struct shell *sh, size_t argc, char **argv)
{
    if (!g_display_backend) {
        shell_print(sh, "Display backend not initialized");
        return -ENODEV;
    }

    const auto &caps = g_display_backend->get_capabilities();

    shell_print(sh, "\n=== Display Driver Configuration ===");
    shell_print(sh, "Resolution: %ux%u", caps.width, caps.height);

    shell_print(sh, "\nPixel Format: ");
    switch (caps.current_format) {
    case PIXEL_FORMAT_RGB_565:
        shell_print(sh, "  RGB565");
        break;
    case PIXEL_FORMAT_BGR_565:
        shell_print(sh, "  BGR565");
        break;
    case PIXEL_FORMAT_RGB_888:
        shell_print(sh, "  RGB888");
        break;
    case PIXEL_FORMAT_ARGB_8888:
        shell_print(sh, "  ARGB8888");
        break;
    default:
        shell_print(sh, "  Unknown (%d)", caps.current_format);
    }

    shell_print(sh, "\nCapabilities:");
    shell_print(sh, "  Framebuffer: %s", caps.has_framebuffer ? "yes" : "no");
    shell_print(sh, "  Partial updates: %s", caps.supports_partial_updates ? "yes" : "no");
    shell_print(sh, "  Double buffering: %s", caps.double_buffering ? "yes" : "no");

    shell_print(sh, "\nStrategy: ");
    switch (caps.strategy) {
    case DisplayBackendZephyr::FrameBufferStrategy::DirectFrameBuffer:
        shell_print(sh, "  Direct Framebuffer (2A)");
        break;
    case DisplayBackendZephyr::FrameBufferStrategy::FullBuffer:
        shell_print(sh, "  Full Buffer (2B)");
        break;
    case DisplayBackendZephyr::FrameBufferStrategy::PartialUpdates:
        shell_print(sh, "  Partial Updates (2C)");
        break;
    }

    return 0;
}

// Shell command: slint metrics
static int cmd_slint_metrics(const struct shell *sh, size_t argc, char **argv)
{
    if (argc < 2) {
        shell_print(sh, "Usage: slint metrics <reset|history>");
        return -EINVAL;
    }

    if (!g_renderer_host) {
        shell_print(sh, "Slint platform not initialized");
        return -ENODEV;
    }

    if (strcmp(argv[1], "reset") == 0) {
        auto &metrics = g_renderer_host->metrics();
        metrics.frame_count = 0;
        metrics.accumulated_render_time = 0;
        metrics.accumulated_write_time = 0;
        metrics.min_frame_time_ms = INT64_MAX;
        metrics.max_frame_time_ms = 0;
        shell_print(sh, "Metrics reset");
        return 0;
    }

    if (strcmp(argv[1], "history") == 0) {
        const auto &metrics = g_renderer_host->metrics();
        shell_print(sh, "\n=== Metrics History ===");
        shell_print(sh, "Total frames: %u", metrics.frame_count);
        shell_print(sh, "Total render time: %lld ms", metrics.accumulated_render_time);
        shell_print(sh, "Total write time: %lld ms", metrics.accumulated_write_time);
        shell_print(sh, "Avg render: %.1f ms", metrics.get_average_render_time());
        shell_print(sh, "Avg write: %.1f ms", metrics.get_average_write_time());
        shell_print(sh, "Avg total: %.1f ms",
                    (double)(metrics.accumulated_render_time + metrics.accumulated_write_time) /
                        metrics.frame_count);
        shell_print(sh, "Average FPS: %.1f", metrics.get_fps());
        shell_print(sh, "Min frame: %lld ms", metrics.min_frame_time_ms);
        shell_print(sh, "Max frame: %lld ms", metrics.max_frame_time_ms);
        return 0;
    }

    shell_print(sh, "Unknown subcommand: %s", argv[1]);
    return -EINVAL;
}

SHELL_STATIC_SUBCMD_SET_CREATE(slint_cmds,
                               SHELL_CMD(status, NULL, "Display Slint rendering status",
                                         cmd_slint_status),
                               SHELL_CMD(config, NULL, "Display driver configuration",
                                         cmd_slint_config),
                               SHELL_CMD(metrics, NULL,
                                         "Manage rendering metrics [reset|history]",
                                         cmd_slint_metrics),
                               SHELL_SUBCMD_SET_END);

SHELL_CMD_REGISTER(slint, &slint_cmds, "Slint monitoring commands", NULL);

void slint_shell_init(void)
{
    LOG_INF("Slint shell commands registered");
}
```

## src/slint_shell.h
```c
#ifndef SLINT_SHELL_H
#define SLINT_SHELL_H

// Forward declarations
class SlintRendererHost;
class DisplayBackendZephyr;

/**
 * @brief Initialize Slint monitoring shell commands
 * 
 * Provides shell commands for:
 * - slint status: Display current rendering metrics and driver info
 * - slint metrics: Manage metrics (reset, history)
 * - slint config: Show display driver configuration
 */
void slint_shell_init(void);

/**
 * @brief Register renderer for shell access
 */
void slint_shell_register_renderer(SlintRendererHost *renderer);

/**
 * @brief Register display backend for shell access
 */
void slint_shell_register_display(DisplayBackendZephyr *display);

#endif // SLINT_SHELL_H
```

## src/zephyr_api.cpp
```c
#include "zephyr_api.h"
#include "platform_main_loop.h"
#include <slint-platform.h>
#include <zephyr/logging/log.h>
#include <zephyr/drivers/display.h>

LOG_MODULE_REGISTER(zephyr_api_slint, LOG_LEVEL_DBG);

/**
 * @brief Initialize Slint platform with Zephyr
 * 
 * Creates and configures the complete Slint platform for Zephyr:
 * - DisplayBackendZephyr: abstracts display driver
 * - SlintRendererHost: manages rendering and buffering
 * - InputBridgeZephyr: lightweight input event handling
 * - ZephyrPlatformMainLoop: central event loop with proper wake management
 * 
 * This implements all phases from re-write-slint-api.md:
 * - Step 0: Metrics collection
 * - Step 1: Clean component architecture
 * - Step 2: Smart framebuffer strategy selection
 * - Step 3: Performance optimizations (pixel format conversion, rect coalescing)
 * - Step 4: Thread-safe input integration
 * - Step 5: Intelligent event loop with wake sources
 */
void slint_zephyr_init(const struct device *display)
{
    if (!display) {
        LOG_ERR("Display device is NULL");
        return;
    }

    // Turn off display blanking to show content
    display_blanking_off(display);

    // Create and configure the main platform with all components
    auto platform = std::make_unique<ZephyrPlatformMainLoop>(display);

    // Set as active Slint platform
    slint::platform::set_platform(std::move(platform));

    LOG_INF("Slint Zephyr platform initialized successfully");
}
```
